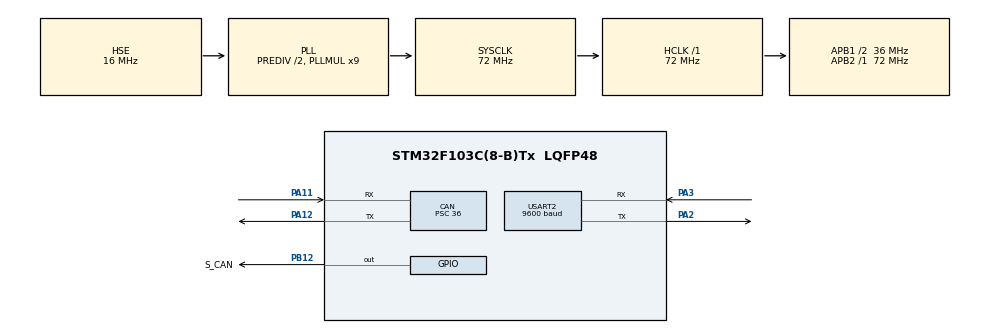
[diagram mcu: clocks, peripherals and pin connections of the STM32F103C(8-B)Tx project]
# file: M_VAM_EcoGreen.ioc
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CAN.ABOM=ENABLE
CAN.BS1=CAN_BS1_6TQ
CAN.BS2=CAN_BS2_3TQ
CAN.CalculateBaudRate=100000
CAN.CalculateTimeBit=10000
CAN.CalculateTimeQuantum=1000.0
CAN.Mode=CAN_MODE_NORMAL
CAN.NART=ENABLE
CAN.Prescaler=36
CAN.SJW=CAN_SJW_2TQ
Dma.Request0=USART2_RX
Dma.USART2_RX.0.Direction=DMA_PERIPH_TO_MEMORY
Dma.USART2_RX.0.Instance=DMA1_Channel6
Dma.USART2_RX.0.MemDataAlignment=DMA_MDATAALIGN_BYTE
Dma.USART2_RX.0.MemInc=DMA_MINC_ENABLE
Dma.USART2_RX.0.Mode=DMA_NORMAL
Dma.USART2_RX.0.PeriphDataAlignment=DMA_PDATAALIGN_BYTE
Dma.USART2_RX.0.PeriphInc=DMA_PINC_DISABLE
Dma.USART2_RX.0.Priority=DMA_PRIORITY_LOW
IWDG.Prescaler=IWDG_PRESCALER_64
Mcu.Family=STM32F1
Mcu.Name=STM32F103C(8-B)Tx
Mcu.Package=LQFP48
NVIC.DMA1_Channel6_IRQn=true\:0\:0\:false\:false\:true\:false\:true\:true
NVIC.PriorityGroup=NVIC_PRIORITYGROUP_4
NVIC.TIM3_IRQn=true\:3\:0\:true\:false\:true\:true\:true\:true
NVIC.USART2_IRQn=true\:2\:0\:true\:false\:true\:true\:true\:true
NVIC.USB_LP_CAN1_RX0_IRQn=true\:1\:0\:true\:false\:true\:true\:true\:true
PA11.Mode=CAN_Activate
PA11.Signal=CAN_RX
PA12.Mode=CAN_Activate
PA12.Signal=CAN_TX
PA13.Mode=Serial_Wire
PA13.Signal=SYS_JTMS-SWDIO
PA14.Mode=Serial_Wire
PA14.Signal=SYS_JTCK-SWCLK
PA2.Mode=Asynchronous
PA2.Signal=USART2_TX
PA3.Mode=Asynchronous
PA3.Signal=USART2_RX
PB12.GPIO_Label=S_CAN
PB12.Signal=GPIO_Output
PD0-OSC_IN.Mode=HSE-External-Oscillator
PD0-OSC_IN.Signal=RCC_OSC_IN
PD1-OSC_OUT.Mode=HSE-External-Oscillator
PD1-OSC_OUT.Signal=RCC_OSC_OUT
ProjectManager.HeapSize=0x200
ProjectManager.StackSize=0x400
ProjectManager.TargetToolchain=STM32CubeIDE
RCC.AHBFreq_Value=72000000
RCC.APB1CLKDivider=RCC_HCLK_DIV2
RCC.APB1Freq_Value=36000000
RCC.APB1TimFreq_Value=72000000
RCC.APB2Freq_Value=72000000
RCC.APB2TimFreq_Value=72000000
RCC.HCLKFreq_Value=72000000
RCC.HSEDivPLL=RCC_HSE_PREDIV_DIV2
RCC.HSE_VALUE=16000000
RCC.PLLMUL=RCC_PLL_MUL9
RCC.PLLSourceVirtual=RCC_PLLSOURCE_HSE
RCC.SYSCLKFreq_VALUE=72000000
RCC.SYSCLKSource=RCC_SYSCLKSOURCE_PLLCLK
RCC.USBFreq_Value=72000000
TIM3.Period=999
TIM3.Prescaler=35999
USART2.BaudRate=9600
USART2.VirtualMode=VM_ASYNC
VP_IWDG_VS_IWDG.Mode=IWDG_Activate
VP_TIM3_VS_ClockSourceINT.Mode=Internal
board=custom

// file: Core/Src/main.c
/* USER CODE BEGIN Header */
/**
  ******************************************************************************
  * @file           : main.c
  * @brief          : Main program body
  ******************************************************************************
  * @attention
  *
  * Copyright (c) 2024 STMicroelectronics.
  * All rights reserved.
  *
  * This software is licensed under terms that can be found in the LICENSE file
  * in the root directory of this software component.
  * If no LICENSE file comes with this software, it is provided AS-IS.
  *
  ******************************************************************************
  */
/* USER CODE END Header */
#include "main.h"

/* USER CODE BEGIN Includes */
#include "stdbool.h"
#include "stdlib.h"
#include "DFPLAYER_MINI.h"
/* USER CODE END Includes */

/* USER CODE BEGIN PD */
#define speak_state_floor 7
#define speak_state_fire 1
#define speak_state_door 4
#define speak_state_overload 5
#define speak_state_recue 6
#define speak_state_fault 8
#define speak_state_VIP 9
#define speak_state_direction 11
/* USER CODE END PD */

CAN_HandleTypeDef hcan;

IWDG_HandleTypeDef hiwdg;

TIM_HandleTypeDef htim3;

UART_HandleTypeDef huart2;
DMA_HandleTypeDef hdma_usart2_rx;

/* USER CODE BEGIN PV */
CAN_RxHeaderTypeDef RxHeader;

uint8_t RxData[8], rxDataSave[8], uart_data[50], oneFloor, tenFloor, floorNow, speed, speakerButton[5][4],
		speakerState[5][2], button[3];
bool speakFloor, speakDoorOpen, speakDoorClose, speakDiriectionUp, speakDirectionDown, speakFire, speakOverLoad,
	 isSpeakFloor, isSpeakDoorOpen, isSpeakDoorClose, isSpeakDiriectionUp, isSpeakDirectionDown,
	 isSpeakFire, isSpeakOverLoad, detect_speed, read_speed;
uint16_t feedbackSpeaker;
uint32_t timer, breakTimer;
/* USER CODE END PV */

void SystemClock_Config(void);
static void MX_GPIO_Init(void);
static void MX_DMA_Init(void);
static void MX_CAN_Init(void);
static void MX_USART2_UART_Init(void);
static void MX_TIM3_Init(void);
static void MX_IWDG_Init(void);
/* USER CODE BEGIN PFP */
void speaker_floor(uint8_t tenFloor, uint8_t oneFloor);
void Set_speed_can(CAN_HandleTypeDef hcan, bool detect_speed, uint8_t speed);
/* USER CODE END PFP */

/* USER CODE BEGIN 0 */
void HAL_CAN_RxFifo0MsgPendingCallback(CAN_HandleTypeDef *hcan)
{
	if (HAL_CAN_GetRxMessage(hcan, CAN_RX_FIFO0, &RxHeader, RxData) != HAL_OK)
	{
		HAL_NVIC_SystemReset();
	}
	read_speed = true;
	if (RxHeader.StdId == 0x501)
	{
		if ((RxData[0] & 0x04) == 0x04)
		{
			if (RxData[2] == 0x01)
			{
				rxDataSave[2] = RxData[2];
				rxDataSave[4] = 0;
				rxDataSave[3] = 0;
				for (uint8_t i=0; i<5; i++)
				{
					if (speakerState[i][0] == 0)
					{
						speakerState[i][0] = speak_state_fire;
						return;
					}
				}
			} else if (RxData[2] == 0x04)
			{
				if (RxData[4] != rxDataSave[4])
				{
					rxDataSave[2] = RxData[2];
					rxDataSave[4] = RxData[4];
					rxDataSave[3] = 0;
					for (uint8_t i=0; i<5; i++)
					{
						if (speakerState[i][0] == 0)
						{
							speakerState[i][0] = speak_state_door;
							speakerState[i][1] = RxData[4];
							return;
						}
					}
				}
			} else if (RxData[2] == 0x05)
			{
				rxDataSave[2] = RxData[2];
				rxDataSave[4] = 0;
				rxDataSave[3] = 0;
				for (uint8_t i=0; i<5; i++)
				{
					if (speakerState[i][0] == 0)
					{
						speakerState[i][0] = speak_state_overload;
						return;
					}
				}
			} else if (RxData[2] == 0x06)
			{
				rxDataSave[2] = RxData[2];
				rxDataSave[4] = 0;
				rxDataSave[3] = 0;
				for (uint8_t i=0; i<5; i++)
				{
					if (speakerState[i][0] == 0)
					{
						speakerState[i][0] = speak_state_recue;
						return;
					}
				}
			} else if (RxData[2] == 0x07)
			{
				if (RxData[2] != rxDataSave[2])
				{
					rxDataSave[2] = RxData[2];
					rxDataSave[4] = 0;
					rxDataSave[3] = 0;
					for (uint8_t i=0; i<5; i++)
					{
						if (speakerState[i][0] == 0)
						{
							speakerState[i][0] = speak_state_floor;
							return;
						}
					}
				}
			} else if (RxData[2] == 0x08 || RxData[2] == 0x0A)
			{
				rxDataSave[2] = RxData[2];
				rxDataSave[4] = 0;
				rxDataSave[3] = 0;
				for (uint8_t i=0; i<5; i++)
				{
					if (speakerState[i][0] == 0)
					{
						speakerState[i][0] = speak_state_fault;
						return;
					}
				}
			} else if (RxData[2] == 0x09)
			{
				if (RxData[2] != rxDataSave[2])
				{
					rxDataSave[2] = RxData[2];
					rxDataSave[4] = 0;
					rxDataSave[3] = 0;
					for (uint8_t i=0; i<5; i++)
					{
						if (speakerState[i][0] == 0)
						{
							speakerState[i][0] = speak_state_VIP;
							return;
						}
					}
				}
			} else if (RxData[2] == 0x0B)
			{
				if (RxData[3] != rxDataSave[3])
				{
					rxDataSave[2] = RxData[2];
					rxDataSave[3] = RxData[3];
					rxDataSave[4] = 0;
					for (uint8_t i=0; i<5; i++)
					{
						if (speakerState[i][0] == 0)
						{
							speakerState[i][0] = speak_state_direction;
							speakerState[i][1] = RxData[3];
							return;
						}
					}
				}
			}
		} else
		{
			rxDataSave[2] = 0;
			rxDataSave[3] = 0;
			rxDataSave[4] = 0;
		}
	} else if (RxHeader.StdId == 0x502)
	{
		oneFloor = RxData[2];
		tenFloor = RxData[1];
	} else if (RxHeader.StdId == 0x503)
	{
		if ((RxData[0] & 0x01) ==  0x01)
		{
			if (RxData[0] != button[0] || RxData[2] != button[1] || RxData[3] != button[2])
			{
				button[0] = RxData[0];
				button[1] = RxData[2];
				button[2] = RxData[3];
				for (uint8_t i=0; i<5; i++)
				{
					if (speakerButton[i][0] == 0)
					{
						speakerButton[i][0] = 1;
						if ((RxData[0] & 0x04) ==  0x04)
						{
							speakerButton[i][1] = 1;
						} else
						{
							speakerButton[i][1] = 0;
						}
						speakerButton[i][2] = button[1];
						speakerButton[i][3] = button[2];
						return;
					}
				}
			}
		}
	}
}
void HAL_UARTEx_RxEventCallback(UART_HandleTypeDef *huart, uint16_t Size)
{
	if (huart->Instance == huart2.Instance)
	{
		HAL_UARTEx_ReceiveToIdle_DMA(&huart2, uart_data, Size);
		__HAL_DMA_DISABLE_IT(&hdma_usart2_rx, DMA_IT_HT);
		if (uart_data[3] == 0x3D || uart_data[3] == 0x3F)
		{
			feedbackSpeaker = (uart_data[5]<<8)|uart_data[6];
		}
	}
}
void HAL_TIM_PeriodElapsedCallback(TIM_HandleTypeDef *htim)
{
	if (htim->Instance == htim3.Instance)
	{
		HAL_IWDG_Refresh(&hiwdg);
	}
}
/* USER CODE END 0 */

int main(void)
{

  /* MCU Configuration--------------------------------------------------------*/

  /* Reset of all peripherals, Initializes the Flash interface and the Systick. */
  HAL_Init();

  /* Configure the system clock */
  SystemClock_Config();

  /* USER CODE BEGIN SysInit */
  __HAL_DBGMCU_FREEZE_IWDG();
  /* USER CODE END SysInit */

  /* Initialize all configured peripherals */
  MX_GPIO_Init();
  MX_DMA_Init();
  MX_CAN_Init();
  MX_USART2_UART_Init();
  MX_TIM3_Init();
  MX_IWDG_Init();
  /* USER CODE BEGIN 2 */
  HAL_TIM_Base_Start_IT(&htim3);
  HAL_UARTEx_ReceiveToIdle_DMA(&huart2, uart_data, 50);
  __HAL_DMA_DISABLE_IT(&hdma_usart2_rx, DMA_IT_HT);
  while (!detect_speed)
  {
	  if (!read_speed)
	  {
		  if (abs(HAL_GetTick() - timer) > 500)
		  {
			  timer = HAL_GetTick();
			  speed ++;
			  if (speed > 3)
			  {
				  speed = 1;
			  }
			  Set_speed_can(hcan, detect_speed, speed);
		  }
	  } else
	  {
		  detect_speed = true;
		  Set_speed_can(hcan, detect_speed, speed);
	  }
  }
  HAL_Delay(1000);
  DF_Init(30);
  breakTimer = HAL_GetTick();
  while (feedbackSpeaker != 0x02)
  {
	  if (abs(HAL_GetTick() - breakTimer) > 500)
	  {
		  break;
	  }
  }
  feedbackSpeaker = 0;
  /* USER CODE END 2 */

  /* Infinite loop */
  while (1)
  {

    /* USER CODE BEGIN 3 */

	  if (speakerButton[0][0] == 1)
	  {
		  if (speakerButton[0][1] == 1)
		  {
			  // đọc cancel
			  DF_Play(41);
			  breakTimer = HAL_GetTick();
			  while (feedbackSpeaker != 41)
			  {
				  if (abs(HAL_GetTick() - breakTimer) > 500)
				  {
					  break;
				  }
			  }
			  feedbackSpeaker = 0;
//			  HAL_Delay(100);
		  }
		  // đọc tầng
		  speaker_floor(speakerButton[0][2], speakerButton[0][3]);
		  for (uint8_t i=0; i<4; i++)
		  {
			  speakerButton[i][0] = speakerButton[i+1][0];
			  speakerButton[i][1] = speakerButton[i+1][1];
			  speakerButton[i][2] = speakerButton[i+1][2];
			  speakerButton[i][3] = speakerButton[i+1][3];
		  }
		  speakerButton[4][0] = 0;
		  speakerButton[4][1] = 0;
		  speakerButton[4][2] = 0;
		  speakerButton[4][3] = 0;
	  }
	  if (speakerState[0][0] != 0)
	  {
		  switch (speakerState[0][0])
		  {
		  case speak_state_door:
			  if (speakerState[0][1] == 1)
			  {
				  DF_Play(35); // open
				  breakTimer = HAL_GetTick();
				  while (feedbackSpeaker != 35)
				  {
					  if (abs(HAL_GetTick() - breakTimer) > 500)
					  {
						  break;
					  }
				  }
				  feedbackSpeaker = 0;
				  HAL_Delay(200);
			  } else if (speakerState[0][1] == 2)
			  {
				  DF_Play(36); // close
				  breakTimer = HAL_GetTick();
				  while (feedbackSpeaker != 36)
				  {
					  if (abs(HAL_GetTick() - breakTimer) > 500)
					  {
						  break;
					  }
				  }
				  feedbackSpeaker = 0;
				  HAL_Delay(200);
			  }
			  break;
		  case speak_state_direction:
			  if (speakerState[0][1] == 1)
			  {
				  DF_Play(37); //  up
				  breakTimer = HAL_GetTick();
				  while (feedbackSpeaker != 37)
				  {
					  if (abs(HAL_GetTick() - breakTimer) > 500)
					  {
						  break;
					  }
				  }
				  feedbackSpeaker = 0;
				  HAL_Delay(200);
			  } else if (speakerState[0][1] == 2)
			  {
				  DF_Play(38); // down
				  breakTimer = HAL_GetTick();
				  while (feedbackSpeaker != 38)
				  {
					  if (abs(HAL_GetTick() - breakTimer) > 500)
					  {
						  break;
					  }
				  }
				  feedbackSpeaker = 0;
				  HAL_Delay(200);
			  }
			  break;
		  case speak_state_floor:
			  DF_Play(42); // ding dong
			  breakTimer = HAL_GetTick();
			  while (feedbackSpeaker != 42)
			  {
				  if (abs(HAL_GetTick() - breakTimer) > 2000)
				  {
					  break;
				  }
			  }
			  feedbackSpeaker = 0;
			  HAL_Delay(100);
			  // đọc tầng
			  speaker_floor(tenFloor, oneFloor);
//			  HAL_Delay(200);
			  DF_Play(43); // floor
			  breakTimer = HAL_GetTick();
			  while (feedbackSpeaker != 43)
			  {
				  if (abs(HAL_GetTick() - breakTimer) > 500)
				  {
					  break;
				  }
			  }
			  feedbackSpeaker = 0;
			  HAL_Delay(200);
			  break;
		  default:
			  DF_Play(speakerState[0][0]);

//			  DF_Play_from_Folder(1, speakerState[0][0]);
			  breakTimer = HAL_GetTick();
			  while (feedbackSpeaker != speakerState[0][0])
			  {
				  if (abs(HAL_GetTick() - breakTimer) > 500)
				  {
					  break;
				  }
			  }
			  feedbackSpeaker = 0;
			  HAL_Delay(200);
			  break;
		  }
		  for (uint8_t i=0; i<4; i++)
		  {
			  speakerState[i][0] = speakerState[i+1][0];
			  speakerState[i][1] = speakerState[i+1][1];
		  }
		  speakerState[4][0] = 0;
		  speakerState[4][1] = 0;
	  }
	  HAL_Delay(100);
  }
  /* USER CODE END 3 */
}

void SystemClock_Config(void)
{
  RCC_OscInitTypeDef RCC_OscInitStruct = {0};
  RCC_ClkInitTypeDef RCC_ClkInitStruct = {0};

  /** Initializes the RCC Oscillators according to the specified parameters
  * in the RCC_OscInitTypeDef structure.
  */
  RCC_OscInitStruct.OscillatorType = RCC_OSCILLATORTYPE_LSI|RCC_OSCILLATORTYPE_HSE;
  RCC_OscInitStruct.HSEState = RCC_HSE_ON;
  RCC_OscInitStruct.HSEPredivValue = RCC_HSE_PREDIV_DIV2;
  RCC_OscInitStruct.HSIState = RCC_HSI_ON;
  RCC_OscInitStruct.LSIState = RCC_LSI_ON;
  RCC_OscInitStruct.PLL.PLLState = RCC_PLL_ON;
  RCC_OscInitStruct.PLL.PLLSource = RCC_PLLSOURCE_HSE;
  RCC_OscInitStruct.PLL.PLLMUL = RCC_PLL_MUL9;
  if (HAL_RCC_OscConfig(&RCC_OscInitStruct) != HAL_OK)
  {
    Error_Handler();
  }

  /** Initializes the CPU, AHB and APB buses clocks
  */
  RCC_ClkInitStruct.ClockType = RCC_CLOCKTYPE_HCLK|RCC_CLOCKTYPE_SYSCLK
                              |RCC_CLOCKTYPE_PCLK1|RCC_CLOCKTYPE_PCLK2;
  RCC_ClkInitStruct.SYSCLKSource = RCC_SYSCLKSOURCE_PLLCLK;
  RCC_ClkInitStruct.AHBCLKDivider = RCC_SYSCLK_DIV1;
  RCC_ClkInitStruct.APB1CLKDivider = RCC_HCLK_DIV2;
  RCC_ClkInitStruct.APB2CLKDivider = RCC_HCLK_DIV1;

  if (HAL_RCC_ClockConfig(&RCC_ClkInitStruct, FLASH_LATENCY_2) != HAL_OK)
  {
    Error_Handler();
  }
}

static void MX_CAN_Init(void)
{

  hcan.Instance = CAN1;
  hcan.Init.Prescaler = 36;
  hcan.Init.Mode = CAN_MODE_NORMAL;
  hcan.Init.SyncJumpWidth = CAN_SJW_2TQ;
  hcan.Init.TimeSeg1 = CAN_BS1_6TQ;
  hcan.Init.TimeSeg2 = CAN_BS2_3TQ;
  hcan.Init.TimeTriggeredMode = DISABLE;
  hcan.Init.AutoBusOff = ENABLE;
  hcan.Init.AutoWakeUp = DISABLE;
  hcan.Init.AutoRetransmission = ENABLE;
  hcan.Init.ReceiveFifoLocked = DISABLE;
  hcan.Init.TransmitFifoPriority = DISABLE;
  if (HAL_CAN_Init(&hcan) != HAL_OK)
  {
    Error_Handler();
  }

}

static void MX_IWDG_Init(void)
{

  hiwdg.Instance = IWDG;
  hiwdg.Init.Prescaler = IWDG_PRESCALER_64;
  hiwdg.Init.Reload = 4095;
  if (HAL_IWDG_Init(&hiwdg) != HAL_OK)
  {
    Error_Handler();
  }

}

static void MX_TIM3_Init(void)
{

  TIM_ClockConfigTypeDef sClockSourceConfig = {0};
  TIM_MasterConfigTypeDef sMasterConfig = {0};

  htim3.Instance = TIM3;
  htim3.Init.Prescaler = 35999;
  htim3.Init.CounterMode = TIM_COUNTERMODE_UP;
  htim3.Init.Period = 999;
  htim3.Init.ClockDivision = TIM_CLOCKDIVISION_DIV1;
  htim3.Init.AutoReloadPreload = TIM_AUTORELOAD_PRELOAD_DISABLE;
  if (HAL_TIM_Base_Init(&htim3) != HAL_OK)
  {
    Error_Handler();
  }
  sClockSourceConfig.ClockSource = TIM_CLOCKSOURCE_INTERNAL;
  if (HAL_TIM_ConfigClockSource(&htim3, &sClockSourceConfig) != HAL_OK)
  {
    Error_Handler();
  }
  sMasterConfig.MasterOutputTrigger = TIM_TRGO_RESET;
  sMasterConfig.MasterSlaveMode = TIM_MASTERSLAVEMODE_DISABLE;
  if (HAL_TIMEx_MasterConfigSynchronization(&htim3, &sMasterConfig) != HAL_OK)
  {
    Error_Handler();
  }

}

static void MX_USART2_UART_Init(void)
{

  huart2.Instance = USART2;
  huart2.Init.BaudRate = 9600;
  huart2.Init.WordLength = UART_WORDLENGTH_8B;
  huart2.Init.StopBits = UART_STOPBITS_1;
  huart2.Init.Parity = UART_PARITY_NONE;
  huart2.Init.Mode = UART_MODE_TX_RX;
  huart2.Init.HwFlowCtl = UART_HWCONTROL_NONE;
  huart2.Init.OverSampling = UART_OVERSAMPLING_16;
  if (HAL_UART_Init(&huart2) != HAL_OK)
  {
    Error_Handler();
  }

}

static void MX_DMA_Init(void)
{

  /* DMA controller clock enable */
  __HAL_RCC_DMA1_CLK_ENABLE();

  /* DMA interrupt init */
  /* DMA1_Channel6_IRQn interrupt configuration */
  HAL_NVIC_SetPriority(DMA1_Channel6_IRQn, 0, 0);
  HAL_NVIC_EnableIRQ(DMA1_Channel6_IRQn);

}

static void MX_GPIO_Init(void)
{
  GPIO_InitTypeDef GPIO_InitStruct = {0};

  /* GPIO Ports Clock Enable */
  __HAL_RCC_GPIOD_CLK_ENABLE();
  __HAL_RCC_GPIOA_CLK_ENABLE();
  __HAL_RCC_GPIOB_CLK_ENABLE();

  /*Configure GPIO pin Output Level */
  HAL_GPIO_WritePin(S_CAN_GPIO_Port, S_CAN_Pin, GPIO_PIN_RESET);

  /*Configure GPIO pin : S_CAN_Pin */
  GPIO_InitStruct.Pin = S_CAN_Pin;
  GPIO_InitStruct.Mode = GPIO_MODE_OUTPUT_PP;
  GPIO_InitStruct.Pull = GPIO_NOPULL;
  GPIO_InitStruct.Speed = GPIO_SPEED_FREQ_LOW;
  HAL_GPIO_Init(S_CAN_GPIO_Port, &GPIO_InitStruct);

}

/* USER CODE BEGIN 4 */

void Set_speed_can(CAN_HandleTypeDef hcan, bool detect_speed, uint8_t speed)
{
	hcan.Init.Mode = CAN_MODE_SILENT;
	if (speed == 1)
	{
		hcan.Init.Prescaler = 30;
		hcan.Init.TimeSeg1 = CAN_BS1_8TQ;
		hcan.Init.TimeSeg2 = CAN_BS2_3TQ;
	} else if (speed == 2)
	{
		hcan.Init.Prescaler = 40;
		hcan.Init.TimeSeg1 = CAN_BS1_12TQ;
		hcan.Init.TimeSeg2 = CAN_BS2_5TQ;
	} else if (speed == 3)
	{
		hcan.Init.Prescaler = 60;//80
		hcan.Init.TimeSeg1 = CAN_BS1_16TQ;//15
		hcan.Init.TimeSeg2 = CAN_BS2_7TQ;//2
	}
	hcan.Init.AutoRetransmission = ENABLE;
	hcan.Init.SyncJumpWidth = CAN_SJW_3TQ;
	hcan.Init.AutoBusOff = ENABLE;

	HAL_CAN_Init(&hcan);
	if (detect_speed)
	{
		CAN_FilterTypeDef canfilterconfig;
		canfilterconfig.FilterActivation = CAN_FILTER_ENABLE;
		canfilterconfig.FilterBank = 0;
		canfilterconfig.FilterFIFOAssignment = CAN_FILTER_FIFO0;
		canfilterconfig.FilterIdHigh = 0x501<<5;
		canfilterconfig.FilterIdLow = 0;
		canfilterconfig.FilterMaskIdHigh = 0xFFF<<5;
		canfilterconfig.FilterMaskIdLow = 0;
		canfilterconfig.FilterMode = CAN_FILTERMODE_IDMASK;
		canfilterconfig.FilterScale = CAN_FILTERSCALE_32BIT;
		canfilterconfig.SlaveStartFilterBank = 14;
		HAL_CAN_ConfigFilter(&hcan, &canfilterconfig);
		canfilterconfig.FilterActivation = CAN_FILTER_ENABLE;
		canfilterconfig.FilterBank = 1;
		canfilterconfig.FilterFIFOAssignment = CAN_FILTER_FIFO0;
		canfilterconfig.FilterIdHigh = 0x502<<5;
		canfilterconfig.FilterIdLow = 0;
		canfilterconfig.FilterMaskIdHigh = 0xFFF<<5;
		canfilterconfig.FilterMaskIdLow = 0;
		canfilterconfig.FilterMode = CAN_FILTERMODE_IDMASK;
		canfilterconfig.FilterScale = CAN_FILTERSCALE_32BIT;
		canfilterconfig.SlaveStartFilterBank = 14;
		HAL_CAN_ConfigFilter(&hcan, &canfilterconfig);
		canfilterconfig.FilterActivation = CAN_FILTER_ENABLE;
		canfilterconfig.FilterBank = 3;
		canfilterconfig.FilterFIFOAssignment = CAN_FILTER_FIFO0;
		canfilterconfig.FilterIdHigh = 0x503<<5;
		canfilterconfig.FilterIdLow = 0;
		canfilterconfig.FilterMaskIdHigh = 0xFFF<<5;
		canfilterconfig.FilterMaskIdLow = 0;
		canfilterconfig.FilterMode = CAN_FILTERMODE_IDMASK;
		canfilterconfig.FilterScale = CAN_FILTERSCALE_32BIT;
		canfilterconfig.SlaveStartFilterBank = 14;
		HAL_CAN_ConfigFilter(&hcan, &canfilterconfig);
	} else
	{
		CAN_FilterTypeDef canfilterconfig;
		canfilterconfig.FilterActivation = CAN_FILTER_ENABLE;
		canfilterconfig.FilterBank = 0;
		canfilterconfig.FilterFIFOAssignment = CAN_FILTER_FIFO0;
		canfilterconfig.FilterIdHigh = 0<<5;
		canfilterconfig.FilterIdLow = 0;
		canfilterconfig.FilterMaskIdHigh = 0<<5;
		canfilterconfig.FilterMaskIdLow = 0;
		canfilterconfig.FilterMode = CAN_FILTERMODE_IDMASK;
		canfilterconfig.FilterScale = CAN_FILTERSCALE_32BIT;
		canfilterconfig.SlaveStartFilterBank = 14;
		HAL_CAN_ConfigFilter(&hcan, &canfilterconfig);
	}
	HAL_CAN_Start(&hcan);
	HAL_CAN_ActivateNotification(&hcan, CAN_IT_RX_FIFO0_MSG_PENDING);
}
void speaker_floor(uint8_t tenFloor, uint8_t oneFloor)
{
	uint16_t floor;
	if (tenFloor == 0x48) // H
	{
		if (oneFloor == 0x31)
		{
			floor = 33;
		} else if (oneFloor == 0x32)
		{
			floor = 34;
		}
	} else if (tenFloor == 0x20)
	{
		floor = oneFloor - 0x30;
	} else
	{
		floor = (tenFloor - 0x30)*10 + (oneFloor - 0x30);
	}
	DF_Play(floor);
//	HAL_Delay(1200);
	breakTimer = HAL_GetTick();
	while (feedbackSpeaker != floor)
	{
		if (abs(HAL_GetTick() - breakTimer) > 1500)
		{
			break;
		}
	}
	feedbackSpeaker = 0;
}

/* USER CODE END 4 */

void Error_Handler(void)
{
  __disable_irq();
  while (1)
  {
  }
}
